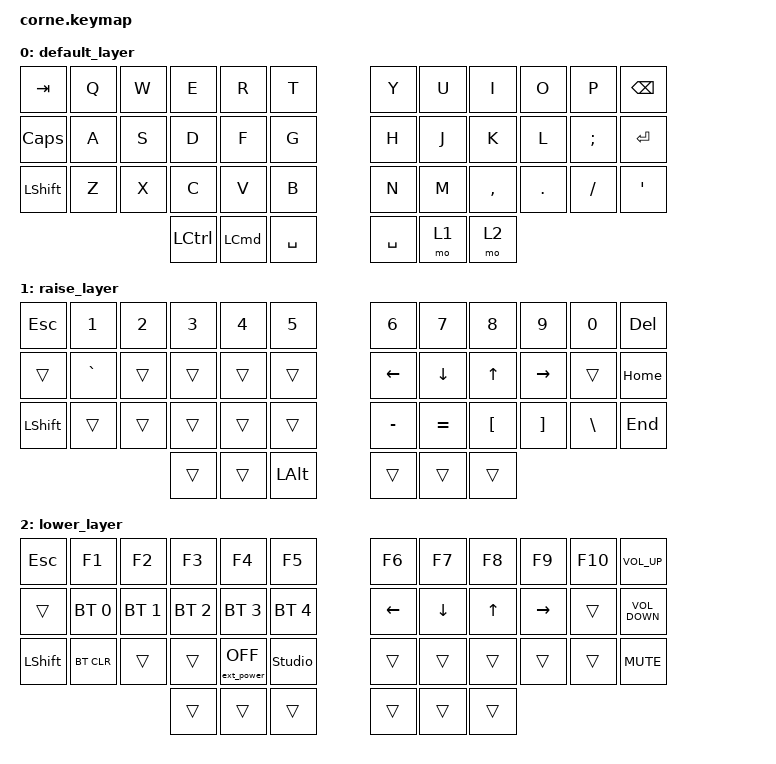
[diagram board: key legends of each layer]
/*
 * Copyright (c) 2020 The ZMK Contributors
 *
 * SPDX-License-Identifier: MIT
 */

#include <behaviors.dtsi>
#include <dt-bindings/zmk/bt.h>
#include <dt-bindings/zmk/ext_power.h>
#include <dt-bindings/zmk/keys.h>

/ {
    keymap {
        compatible = "zmk,keymap";

        default_layer {
            // -----------------------------------------------------------------------------------------
            // |  TAB |  Q  |  W  |  E  |  R  |  T  |   |  Y  |  U   |  I  |  O  |  P  | BKSP |
            // | CTRL |  A  |  S  |  D  |  F  |  G  |   |  H  |  J   |  K  |  L  |  ;  |  '   |
            // | SHFT |  Z  |  X  |  C  |  V  |  B  |   |  N  |  M   |  ,  |  .  |  /  | ESC  |
            //                    | GUI | LWR | SPC |   | ENT | RSE  | ALT |

            bindings = <
&kp TAB    &kp Q  &kp W  &kp E      &kp R             &kp T        &kp Y      &kp U  &kp I      &kp O    &kp P     &kp BSPC
&kp CAPS   &kp A  &kp S  &kp D      &kp F             &kp G        &kp H      &kp J  &kp K      &kp L    &kp SEMI  &kp ENTER
&kp LSHFT  &kp Z  &kp X  &kp C      &kp V             &kp B        &kp N      &kp M  &kp COMMA  &kp DOT  &kp FSLH  &kp APOSTROPHE
                         &kp LCTRL  &kp LEFT_COMMAND  &kp SPACE    &kp SPACE  &mo 1  &mo 2
            >;
        };

        raise_layer {
            // -----------------------------------------------------------------------------------------
            // |  TAB |  !  |  @  |  #  |  $  |  %  |   |  ^  |  &  |  *  |  (  |  )  | BKSP |
            // | CTRL |     |     |     |     |     |   |  -  |  =  |  [  |  ]  |  \  |  `   |
            // | SHFT |     |     |     |     |     |   |  _  |  +  |  {  |  }  | "|" |  ~   |
            //                    | GUI |     | SPC |   | ENT |     | ALT |

            bindings = <
&kp ESCAPE  &kp NUMBER_1  &kp NUMBER_2  &kp NUMBER_3  &kp NUMBER_4  &kp NUMBER_5    &kp NUMBER_6  &kp N7     &kp N8            &kp N9             &kp N0         &kp DELETE
&trans      &kp GRAVE     &trans        &trans        &trans        &trans          &kp LEFT      &kp DOWN   &kp UP            &kp RIGHT          &trans         &kp HOME
&kp LSHFT   &trans        &trans        &trans        &trans        &trans          &kp MINUS     &kp EQUAL  &kp LEFT_BRACKET  &kp RIGHT_BRACKET  &kp BACKSLASH  &kp END
                                        &trans        &trans        &kp LEFT_ALT    &trans        &trans     &trans
            >;
        };

        lower_layer {
            // -----------------------------------------------------------------------------------------
            // |  TAB |  1  |  2  |  3  |  4  |  5  |   |  6  |  7  |  8  |  9  |  0  | BKSP |
            // | BTCLR| BT1 | BT2 | BT3 | BT4 | BT5 |   | LFT | DWN |  UP | RGT |     |      |
            // | SHFT | SU |     |     |     |     |   |     |     |     |     |     |      |
            //                    | GUI |     | SPC |   | ENT |     | ALT |

            bindings = <
&kp ESCAPE  &kp F1        &kp F2        &kp F3        &kp F4             &kp F5            &kp F6    &kp F7    &kp F8  &kp F9     &kp F10  &kp K_VOLUME_UP
&trans      &bt BT_SEL 0  &bt BT_SEL 1  &bt BT_SEL 2  &bt BT_SEL 3       &bt BT_SEL 4      &kp LEFT  &kp DOWN  &kp UP  &kp RIGHT  &trans   &kp K_VOLUME_DOWN
&kp LSHFT   &bt BT_CLR    &trans        &trans        &ext_power EP_OFF  &studio_unlock    &trans    &trans    &trans  &trans     &trans   &kp K_MUTE
                                        &trans        &trans             &trans            &trans    &trans    &trans
            >;
        };
    };
};
